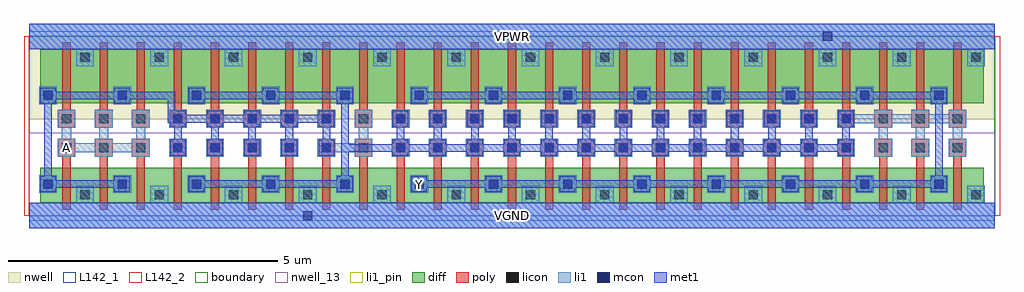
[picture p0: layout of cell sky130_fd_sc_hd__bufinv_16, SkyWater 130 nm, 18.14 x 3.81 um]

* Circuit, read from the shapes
.subckt sky130_fd_sc_hd__bufinv_16 A VGND VPWR Y
XM1 VGND A n1 VSUBS sky130_fd_pr__nfet_01v8 w=0.65 l=0.15 m=3
XM2 n2 n1 VGND VSUBS sky130_fd_pr__nfet_01v8 w=0.65 l=0.15 m=6
XM3 Y n2 VGND VSUBS sky130_fd_pr__nfet_01v8 w=0.65 l=0.15 m=16
XM4 VPWR A n1 n3 sky130_fd_pr__pfet_01v8 w=1 l=0.15 m=3
XM5 n2 n1 VPWR n3 sky130_fd_pr__pfet_01v8 w=1 l=0.15 m=6
XM6 Y n2 VPWR n3 sky130_fd_pr__pfet_01v8 w=1 l=0.15 m=16
.ends

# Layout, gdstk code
import gdstk
lib = gdstk.Library(unit=1e-6, precision=1e-09)
def R(c, l, rs):  # rectangles x0, y0, x1, y1
    for r in rs: c.add(gdstk.rectangle(r[:2], r[2:], *l))
def A(c, l, x, y, w, h, nx, ny, dx, dy):  # array of equal rectangles
    R(c, l, [(x+i*dx, y+j*dy, x+i*dx+w, y+j*dy+h) for i in range(nx) for j in range(ny)])
def P(c, l, *ps):  # polygons
    for p in ps: c.add(gdstk.Polygon(p, *l))
nwell_13 = (64, 13)
nwell = (64, 20)
diff = (65, 20)
poly = (66, 20)
licon = (66, 44)
li1_pin = (67, 16)
li1 = (67, 20)
mcon = (67, 44)
met1 = (68, 20)
L142_1 = (142, 1)
L142_2 = (142, 2)
boundary = (235, 4)

sky130_fd_sc_hd__bufinv_ = lib.new_cell('sky130_fd_sc_hd__bufinv_16')
R(sky130_fd_sc_hd__bufinv_, nwell_13, [(0,0,17.94,1.54)])
R(sky130_fd_sc_hd__bufinv_, nwell, [(0,1.79,17.94,3.33)])
A(sky130_fd_sc_hd__bufinv_, diff, 0.615, 0.24, 0.69, 0.65, 24, 1, 0.69, 0)
A(sky130_fd_sc_hd__bufinv_, diff, 0.615, 2.09, 0.69, 1, 24, 1, 0.69, 0)
R(sky130_fd_sc_hd__bufinv_, diff, [(0.2,0.24,17.74,0.89), (0.2,0.24,0.615,0.89), (17.175,0.24,17.74,0.89), (0.2,2.09,17.74,3.09), (0.2,2.09,0.615,3.09), (17.175,2.09,17.74,3.09)])
P(sky130_fd_sc_hd__bufinv_, poly, [(6.825,0.11),(6.825,1.095),(6.735,1.095),(6.735,1.425),(7.065,1.425),(7.065,1.095),(6.975,1.095),(6.975,0.11)],
  [(7.515,0.11),(7.515,1.095),(7.425,1.095),(7.425,1.425),(7.755,1.425),(7.755,1.095),(7.665,1.095),(7.665,0.11)],
  [(8.205,0.11),(8.205,1.095),(8.115,1.095),(8.115,1.425),(8.445,1.425),(8.445,1.095),(8.355,1.095),(8.355,0.11)],
  [(8.895,0.11),(8.895,1.095),(8.805,1.095),(8.805,1.425),(9.135,1.425),(9.135,1.095),(9.045,1.095),(9.045,0.11)],
  [(9.585,0.11),(9.585,1.095),(9.495,1.095),(9.495,1.425),(9.825,1.425),(9.825,1.095),(9.735,1.095),(9.735,0.11)],
  [(10.275,0.11),(10.275,1.095),(10.185,1.095),(10.185,1.425),(10.515,1.425),(10.515,1.095),(10.425,1.095),(10.425,0.11)],
  [(10.965,0.11),(10.965,1.095),(10.875,1.095),(10.875,1.425),(11.205,1.425),(11.205,1.095),(11.115,1.095),(11.115,0.11)],
  [(11.655,0.11),(11.655,1.095),(11.565,1.095),(11.565,1.425),(11.895,1.425),(11.895,1.095),(11.805,1.095),(11.805,0.11)],
  [(12.345,0.11),(12.345,1.095),(12.255,1.095),(12.255,1.425),(12.585,1.425),(12.585,1.095),(12.495,1.095),(12.495,0.11)],
  [(13.035,0.11),(13.035,1.095),(12.945,1.095),(12.945,1.425),(13.275,1.425),(13.275,1.095),(13.185,1.095),(13.185,0.11)],
  [(13.725,0.11),(13.725,1.095),(13.635,1.095),(13.635,1.425),(13.965,1.425),(13.965,1.095),(13.875,1.095),(13.875,0.11)],
  [(14.415,0.11),(14.415,1.095),(14.325,1.095),(14.325,1.425),(14.655,1.425),(14.655,1.095),(14.565,1.095),(14.565,0.11)],
  [(15.105,0.11),(15.105,1.095),(15.015,1.095),(15.015,1.425),(15.345,1.425),(15.345,1.095),(15.255,1.095),(15.255,0.11)],
  [(15.795,0.11),(15.795,1.095),(15.705,1.095),(15.705,1.425),(16.035,1.425),(16.035,1.095),(15.945,1.095),(15.945,0.11)],
  [(16.485,0.11),(16.485,1.095),(16.395,1.095),(16.395,1.425),(16.725,1.425),(16.725,1.095),(16.635,1.095),(16.635,0.11)],
  [(17.175,0.11),(17.175,1.095),(17.085,1.095),(17.085,1.425),(17.415,1.425),(17.415,1.095),(17.325,1.095),(17.325,0.11)],
  [(6.735,1.635),(6.735,1.965),(6.825,1.965),(6.825,3.22),(6.975,3.22),(6.975,1.965),(7.065,1.965),(7.065,1.635)],
  [(7.425,1.635),(7.425,1.965),(7.515,1.965),(7.515,3.22),(7.665,3.22),(7.665,1.965),(7.755,1.965),(7.755,1.635)],
  [(8.115,1.635),(8.115,1.965),(8.205,1.965),(8.205,3.22),(8.355,3.22),(8.355,1.965),(8.445,1.965),(8.445,1.635)],
  [(8.805,1.635),(8.805,1.965),(8.895,1.965),(8.895,3.22),(9.045,3.22),(9.045,1.965),(9.135,1.965),(9.135,1.635)],
  [(9.495,1.635),(9.495,1.965),(9.585,1.965),(9.585,3.22),(9.735,3.22),(9.735,1.965),(9.825,1.965),(9.825,1.635)],
  [(10.185,1.635),(10.185,1.965),(10.275,1.965),(10.275,3.22),(10.425,3.22),(10.425,1.965),(10.515,1.965),(10.515,1.635)],
  [(10.875,1.635),(10.875,1.965),(10.965,1.965),(10.965,3.22),(11.115,3.22),(11.115,1.965),(11.205,1.965),(11.205,1.635)],
  [(11.565,1.635),(11.565,1.965),(11.655,1.965),(11.655,3.22),(11.805,3.22),(11.805,1.965),(11.895,1.965),(11.895,1.635)],
  [(12.255,1.635),(12.255,1.965),(12.345,1.965),(12.345,3.22),(12.495,3.22),(12.495,1.965),(12.585,1.965),(12.585,1.635)],
  [(12.945,1.635),(12.945,1.965),(13.035,1.965),(13.035,3.22),(13.185,3.22),(13.185,1.965),(13.275,1.965),(13.275,1.635)],
  [(13.635,1.635),(13.635,1.965),(13.725,1.965),(13.725,3.22),(13.875,3.22),(13.875,1.965),(13.965,1.965),(13.965,1.635)],
  [(14.325,1.635),(14.325,1.965),(14.415,1.965),(14.415,3.22),(14.565,3.22),(14.565,1.965),(14.655,1.965),(14.655,1.635)],
  [(15.015,1.635),(15.015,1.965),(15.105,1.965),(15.105,3.22),(15.255,3.22),(15.255,1.965),(15.345,1.965),(15.345,1.635)],
  [(15.705,1.635),(15.705,1.965),(15.795,1.965),(15.795,3.22),(15.945,3.22),(15.945,1.965),(16.035,1.965),(16.035,1.635)],
  [(16.395,1.635),(16.395,1.965),(16.485,1.965),(16.485,3.22),(16.635,3.22),(16.635,1.965),(16.725,1.965),(16.725,1.635)],
  [(17.085,1.635),(17.085,1.965),(17.175,1.965),(17.175,3.22),(17.325,3.22),(17.325,1.965),(17.415,1.965),(17.415,1.635)],
  [(0.615,0.11),(0.615,1.095),(0.525,1.095),(0.525,1.425),(0.855,1.425),(0.855,1.095),(0.765,1.095),(0.765,0.11)],
  [(1.305,0.11),(1.305,1.095),(1.215,1.095),(1.215,1.425),(1.545,1.425),(1.545,1.095),(1.455,1.095),(1.455,0.11)],
  [(1.995,0.11),(1.995,1.095),(1.905,1.095),(1.905,1.425),(2.235,1.425),(2.235,1.095),(2.145,1.095),(2.145,0.11)],
  [(0.525,1.635),(0.525,1.965),(0.615,1.965),(0.615,3.22),(0.765,3.22),(0.765,1.965),(0.855,1.965),(0.855,1.635)],
  [(1.215,1.635),(1.215,1.965),(1.305,1.965),(1.305,3.22),(1.455,3.22),(1.455,1.965),(1.545,1.965),(1.545,1.635)],
  [(1.905,1.635),(1.905,1.965),(1.995,1.965),(1.995,3.22),(2.145,3.22),(2.145,1.965),(2.235,1.965),(2.235,1.635)],
  [(2.685,0.11),(2.685,1.095),(2.595,1.095),(2.595,1.425),(2.925,1.425),(2.925,1.095),(2.835,1.095),(2.835,0.11)],
  [(3.375,0.11),(3.375,1.095),(3.285,1.095),(3.285,1.425),(3.615,1.425),(3.615,1.095),(3.525,1.095),(3.525,0.11)],
  [(4.065,0.11),(4.065,1.095),(3.975,1.095),(3.975,1.425),(4.305,1.425),(4.305,1.095),(4.215,1.095),(4.215,0.11)],
  [(4.755,0.11),(4.755,1.095),(4.665,1.095),(4.665,1.425),(4.995,1.425),(4.995,1.095),(4.905,1.095),(4.905,0.11)],
  [(5.445,0.11),(5.445,1.095),(5.355,1.095),(5.355,1.425),(5.685,1.425),(5.685,1.095),(5.595,1.095),(5.595,0.11)],
  [(6.135,0.11),(6.135,1.095),(6.045,1.095),(6.045,1.425),(6.375,1.425),(6.375,1.095),(6.285,1.095),(6.285,0.11)],
  [(2.595,1.635),(2.595,1.965),(2.685,1.965),(2.685,3.22),(2.835,3.22),(2.835,1.965),(2.925,1.965),(2.925,1.635)],
  [(3.285,1.635),(3.285,1.965),(3.375,1.965),(3.375,3.22),(3.525,3.22),(3.525,1.965),(3.615,1.965),(3.615,1.635)],
  [(3.975,1.635),(3.975,1.965),(4.065,1.965),(4.065,3.22),(4.215,3.22),(4.215,1.965),(4.305,1.965),(4.305,1.635)],
  [(4.665,1.635),(4.665,1.965),(4.755,1.965),(4.755,3.22),(4.905,3.22),(4.905,1.965),(4.995,1.965),(4.995,1.635)],
  [(5.355,1.635),(5.355,1.965),(5.445,1.965),(5.445,3.22),(5.595,3.22),(5.595,1.965),(5.685,1.965),(5.685,1.635)],
  [(6.045,1.635),(6.045,1.965),(6.135,1.965),(6.135,3.22),(6.285,3.22),(6.285,1.965),(6.375,1.965),(6.375,1.635)])
A(sky130_fd_sc_hd__bufinv_, licon, 0.95, 0.3, 0.17, 0.17, 13, 2, 1.38, 2.56)
A(sky130_fd_sc_hd__bufinv_, licon, 0.26, 0.5, 0.17, 0.17, 13, 2, 1.38, 1.65)
A(sky130_fd_sc_hd__bufinv_, licon, 0.605, 1.175, 0.17, 0.17, 25, 2, 0.69, 0.54)
R(sky130_fd_sc_hd__bufinv_, li1_pin, [(0,-0.24,17.94,0.24), (7.08,0.42,7.41,0.75), (0,3.09,17.94,3.57)])
P(sky130_fd_sc_hd__bufinv_, li1_pin, [(0.525,1.095),(0.525,1.425),(0.605,1.425),(0.605,1.635),(0.525,1.635),(0.525,1.965),(0.855,1.965),(0.855,1.635),(0.775,1.635),(0.775,1.425),(0.855,1.425),(0.855,1.345),(1.215,1.345),(1.215,1.425),(1.295,1.425),(1.295,1.635),(1.215,1.635),(1.215,1.965),(1.545,1.965),(1.545,1.635),(1.465,1.635),(1.465,1.425),(1.545,1.425),(1.545,1.345),(1.905,1.345),(1.905,1.425),(1.985,1.425),(1.985,1.635),(1.905,1.635),(1.905,1.965),(2.235,1.965),(2.235,1.635),(2.155,1.635),(2.155,1.425),(2.235,1.425),(2.235,1.095),(1.905,1.095),(1.905,1.175),(1.545,1.175),(1.545,1.095),(1.215,1.095),(1.215,1.175),(0.855,1.175),(0.855,1.095)])
A(sky130_fd_sc_hd__bufinv_, li1, 0.18, 0.42, 0.33, 0.33, 13, 2, 1.38, 1.65)
A(sky130_fd_sc_hd__bufinv_, li1, 2.595, 1.095, 0.33, 0.33, 4, 1, 0.69, 0)
A(sky130_fd_sc_hd__bufinv_, li1, 6.735, 1.095, 0.33, 0.33, 13, 1, 0.69, 0)
A(sky130_fd_sc_hd__bufinv_, li1, 2.595, 1.635, 0.33, 0.33, 5, 1, 0.69, 0)
A(sky130_fd_sc_hd__bufinv_, li1, 6.735, 1.635, 0.33, 0.33, 12, 1, 0.69, 0)
P(sky130_fd_sc_hd__bufinv_, li1, [(15.705,1.095),(15.705,1.425),(15.785,1.425),(15.785,1.635),(15.705,1.635),(15.705,1.715),(15.345,1.715),(15.345,1.635),(15.015,1.635),(15.015,1.965),(15.345,1.965),(15.345,1.885),(15.705,1.885),(15.705,1.965),(16.035,1.965),(16.035,1.885),(16.395,1.885),(16.395,1.965),(16.725,1.965),(16.725,1.885),(17.085,1.885),(17.085,1.965),(17.415,1.965),(17.415,1.635),(17.335,1.635),(17.335,1.425),(17.415,1.425),(17.415,1.095),(17.085,1.095),(17.085,1.425),(17.165,1.425),(17.165,1.635),(17.085,1.635),(17.085,1.715),(16.725,1.715),(16.725,1.635),(16.645,1.635),(16.645,1.425),(16.725,1.425),(16.725,1.095),(16.395,1.095),(16.395,1.425),(16.475,1.425),(16.475,1.635),(16.395,1.635),(16.395,1.715),(16.035,1.715),(16.035,1.635),(15.955,1.635),(15.955,1.425),(16.035,1.425),(16.035,1.095)],
  [(0.87,2.78),(0.87,3.09),(0,3.09),(0,3.57),(17.94,3.57),(17.94,3.09),(17.76,3.09),(17.76,2.78),(17.43,2.78),(17.43,3.09),(16.38,3.09),(16.38,2.78),(16.05,2.78),(16.05,3.09),(15,3.09),(15,2.78),(14.67,2.78),(14.67,3.09),(13.62,3.09),(13.62,2.78),(13.29,2.78),(13.29,3.09),(12.24,3.09),(12.24,2.78),(11.91,2.78),(11.91,3.09),(10.86,3.09),(10.86,2.78),(10.53,2.78),(10.53,3.09),(9.48,3.09),(9.48,2.78),(9.15,2.78),(9.15,3.09),(8.1,3.09),(8.1,2.78),(7.77,2.78),(7.77,3.09),(6.72,3.09),(6.72,2.78),(6.39,2.78),(6.39,3.09),(5.34,3.09),(5.34,2.78),(5.01,2.78),(5.01,3.09),(3.96,3.09),(3.96,2.78),(3.63,2.78),(3.63,3.09),(2.58,3.09),(2.58,2.78),(2.25,2.78),(2.25,3.09),(1.2,3.09),(1.2,2.78)],
  [(0,-0.24),(0,0.24),(0.87,0.24),(0.87,0.55),(1.2,0.55),(1.2,0.24),(2.25,0.24),(2.25,0.55),(2.58,0.55),(2.58,0.24),(3.63,0.24),(3.63,0.55),(3.96,0.55),(3.96,0.24),(5.01,0.24),(5.01,0.55),(5.34,0.55),(5.34,0.24),(6.39,0.24),(6.39,0.55),(6.72,0.55),(6.72,0.24),(7.77,0.24),(7.77,0.55),(8.1,0.55),(8.1,0.24),(9.15,0.24),(9.15,0.55),(9.48,0.55),(9.48,0.24),(10.53,0.24),(10.53,0.55),(10.86,0.55),(10.86,0.24),(11.91,0.24),(11.91,0.55),(12.24,0.55),(12.24,0.24),(13.29,0.24),(13.29,0.55),(13.62,0.55),(13.62,0.24),(14.67,0.24),(14.67,0.55),(15,0.55),(15,0.24),(16.05,0.24),(16.05,0.55),(16.38,0.55),(16.38,0.24),(17.43,0.24),(17.43,0.55),(17.76,0.55),(17.76,0.24),(17.94,0.24),(17.94,-0.24)],
  [(0.525,1.095),(0.525,1.425),(0.605,1.425),(0.605,1.635),(0.525,1.635),(0.525,1.965),(0.855,1.965),(0.855,1.635),(0.775,1.635),(0.775,1.425),(0.855,1.425),(0.855,1.345),(1.215,1.345),(1.215,1.425),(1.295,1.425),(1.295,1.635),(1.215,1.635),(1.215,1.965),(1.545,1.965),(1.545,1.635),(1.465,1.635),(1.465,1.425),(1.545,1.425),(1.545,1.345),(1.905,1.345),(1.905,1.425),(1.985,1.425),(1.985,1.635),(1.905,1.635),(1.905,1.965),(2.235,1.965),(2.235,1.635),(2.155,1.635),(2.155,1.425),(2.235,1.425),(2.235,1.095),(1.905,1.095),(1.905,1.175),(1.545,1.175),(1.545,1.095),(1.215,1.095),(1.215,1.175),(0.855,1.175),(0.855,1.095)],
  [(5.355,1.095),(5.355,1.425),(5.685,1.425),(5.685,1.345),(6.045,1.345),(6.045,1.425),(6.125,1.425),(6.125,1.635),(6.045,1.635),(6.045,1.965),(6.375,1.965),(6.375,1.635),(6.295,1.635),(6.295,1.425),(6.375,1.425),(6.375,1.095),(6.045,1.095),(6.045,1.175),(5.685,1.175),(5.685,1.095)])
A(sky130_fd_sc_hd__bufinv_, mcon, 0.26, 0.5, 0.17, 0.17, 13, 2, 1.38, 1.65)
A(sky130_fd_sc_hd__bufinv_, mcon, 2.675, 1.175, 0.17, 0.17, 5, 2, 0.69, 0.54)
A(sky130_fd_sc_hd__bufinv_, mcon, 6.815, 1.175, 0.17, 0.17, 13, 2, 0.69, 0.54)
R(sky130_fd_sc_hd__bufinv_, mcon, [(5.09,-0.085,5.26,0.085), (14.75,3.245,14.92,3.415)])
R(sky130_fd_sc_hd__bufinv_, met1, [(0,-0.24,17.94,0.24), (0,3.09,17.94,3.57)])
P(sky130_fd_sc_hd__bufinv_, met1, [(7.1,0.44),(7.1,0.73),(7.39,0.73),(7.39,0.655),(8.48,0.655),(8.48,0.73),(8.77,0.73),(8.77,0.655),(9.86,0.655),(9.86,0.73),(10.15,0.73),(10.15,0.655),(11.24,0.655),(11.24,0.73),(11.53,0.73),(11.53,0.655),(12.62,0.655),(12.62,0.73),(12.91,0.73),(12.91,0.655),(14,0.655),(14,0.73),(14.29,0.73),(14.29,0.655),(15.38,0.655),(15.38,0.73),(15.67,0.73),(15.67,0.655),(16.76,0.655),(16.76,0.73),(16.835,0.73),(16.835,2.09),(16.76,2.09),(16.76,2.165),(15.67,2.165),(15.67,2.09),(15.38,2.09),(15.38,2.165),(14.29,2.165),(14.29,2.09),(14,2.09),(14,2.165),(12.91,2.165),(12.91,2.09),(12.62,2.09),(12.62,2.165),(11.53,2.165),(11.53,2.09),(11.24,2.09),(11.24,2.165),(10.15,2.165),(10.15,2.09),(9.86,2.09),(9.86,2.165),(8.77,2.165),(8.77,2.09),(8.48,2.09),(8.48,2.165),(7.39,2.165),(7.39,2.09),(7.1,2.09),(7.1,2.38),(7.39,2.38),(7.39,2.305),(8.48,2.305),(8.48,2.38),(8.77,2.38),(8.77,2.305),(9.86,2.305),(9.86,2.38),(10.15,2.38),(10.15,2.305),(11.24,2.305),(11.24,2.38),(11.53,2.38),(11.53,2.305),(12.62,2.305),(12.62,2.38),(12.91,2.38),(12.91,2.305),(14,2.305),(14,2.38),(14.29,2.38),(14.29,2.305),(15.38,2.305),(15.38,2.38),(15.67,2.38),(15.67,2.305),(16.76,2.305),(16.76,2.38),(17.05,2.38),(17.05,2.09),(16.975,2.09),(16.975,0.73),(17.05,0.73),(17.05,0.44),(16.76,0.44),(16.76,0.515),(15.67,0.515),(15.67,0.44),(15.38,0.44),(15.38,0.515),(14.29,0.515),(14.29,0.44),(14,0.44),(14,0.515),(12.91,0.515),(12.91,0.44),(12.62,0.44),(12.62,0.515),(11.53,0.515),(11.53,0.44),(11.24,0.44),(11.24,0.515),(10.15,0.515),(10.15,0.44),(9.86,0.44),(9.86,0.515),(8.77,0.515),(8.77,0.44),(8.48,0.44),(8.48,0.515),(7.39,0.515),(7.39,0.44)],
  [(2.96,0.44),(2.96,0.73),(3.25,0.73),(3.25,0.655),(4.34,0.655),(4.34,0.73),(4.63,0.73),(4.63,0.655),(5.72,0.655),(5.72,0.73),(5.795,0.73),(5.795,2.09),(5.72,2.09),(5.72,2.165),(4.63,2.165),(4.63,2.09),(4.34,2.09),(4.34,2.165),(3.25,2.165),(3.25,2.09),(2.96,2.09),(2.96,2.38),(3.25,2.38),(3.25,2.305),(4.34,2.305),(4.34,2.38),(4.63,2.38),(4.63,2.305),(5.72,2.305),(5.72,2.38),(6.01,2.38),(6.01,2.09),(5.935,2.09),(5.935,1.33),(6.755,1.33),(6.755,1.405),(6.83,1.405),(6.83,1.655),(6.755,1.655),(6.755,1.945),(7.045,1.945),(7.045,1.655),(6.97,1.655),(6.97,1.405),(7.045,1.405),(7.045,1.33),(7.445,1.33),(7.445,1.405),(7.52,1.405),(7.52,1.655),(7.445,1.655),(7.445,1.945),(7.735,1.945),(7.735,1.655),(7.66,1.655),(7.66,1.405),(7.735,1.405),(7.735,1.33),(8.135,1.33),(8.135,1.405),(8.21,1.405),(8.21,1.655),(8.135,1.655),(8.135,1.945),(8.425,1.945),(8.425,1.655),(8.35,1.655),(8.35,1.405),(8.425,1.405),(8.425,1.33),(8.825,1.33),(8.825,1.405),(8.9,1.405),(8.9,1.655),(8.825,1.655),(8.825,1.945),(9.115,1.945),(9.115,1.655),(9.04,1.655),(9.04,1.405),(9.115,1.405),(9.115,1.33),(9.515,1.33),(9.515,1.405),(9.59,1.405),(9.59,1.655),(9.515,1.655),(9.515,1.945),(9.805,1.945),(9.805,1.655),(9.73,1.655),(9.73,1.405),(9.805,1.405),(9.805,1.33),(10.205,1.33),(10.205,1.405),(10.28,1.405),(10.28,1.655),(10.205,1.655),(10.205,1.945),(10.495,1.945),(10.495,1.655),(10.42,1.655),(10.42,1.405),(10.495,1.405),(10.495,1.33),(10.895,1.33),(10.895,1.405),(10.97,1.405),(10.97,1.655),(10.895,1.655),(10.895,1.945),(11.185,1.945),(11.185,1.655),(11.11,1.655),(11.11,1.405),(11.185,1.405),(11.185,1.33),(11.585,1.33),(11.585,1.405),(11.66,1.405),(11.66,1.655),(11.585,1.655),(11.585,1.945),(11.875,1.945),(11.875,1.655),(11.8,1.655),(11.8,1.405),(11.875,1.405),(11.875,1.33),(12.275,1.33),(12.275,1.405),(12.35,1.405),(12.35,1.655),(12.275,1.655),(12.275,1.945),(12.565,1.945),(12.565,1.655),(12.49,1.655),(12.49,1.405),(12.565,1.405),(12.565,1.33),(12.965,1.33),(12.965,1.405),(13.04,1.405),(13.04,1.655),(12.965,1.655),(12.965,1.945),(13.255,1.945),(13.255,1.655),(13.18,1.655),(13.18,1.405),(13.255,1.405),(13.255,1.33),(13.655,1.33),(13.655,1.405),(13.73,1.405),(13.73,1.655),(13.655,1.655),(13.655,1.945),(13.945,1.945),(13.945,1.655),(13.87,1.655),(13.87,1.405),(13.945,1.405),(13.945,1.33),(14.345,1.33),(14.345,1.405),(14.42,1.405),(14.42,1.655),(14.345,1.655),(14.345,1.945),(14.635,1.945),(14.635,1.655),(14.56,1.655),(14.56,1.405),(14.635,1.405),(14.635,1.33),(15.035,1.33),(15.035,1.405),(15.11,1.405),(15.11,1.655),(15.035,1.655),(15.035,1.945),(15.325,1.945),(15.325,1.655),(15.25,1.655),(15.25,1.405),(15.325,1.405),(15.325,1.115),(15.035,1.115),(15.035,1.19),(14.635,1.19),(14.635,1.115),(14.345,1.115),(14.345,1.19),(13.945,1.19),(13.945,1.115),(13.655,1.115),(13.655,1.19),(13.255,1.19),(13.255,1.115),(12.965,1.115),(12.965,1.19),(12.565,1.19),(12.565,1.115),(12.275,1.115),(12.275,1.19),(11.875,1.19),(11.875,1.115),(11.585,1.115),(11.585,1.19),(11.185,1.19),(11.185,1.115),(10.895,1.115),(10.895,1.19),(10.495,1.19),(10.495,1.115),(10.205,1.115),(10.205,1.19),(9.805,1.19),(9.805,1.115),(9.515,1.115),(9.515,1.19),(9.115,1.19),(9.115,1.115),(8.825,1.115),(8.825,1.19),(8.425,1.19),(8.425,1.115),(8.135,1.115),(8.135,1.19),(7.735,1.19),(7.735,1.115),(7.445,1.115),(7.445,1.19),(7.045,1.19),(7.045,1.115),(6.755,1.115),(6.755,1.19),(5.935,1.19),(5.935,0.73),(6.01,0.73),(6.01,0.44),(5.72,0.44),(5.72,0.515),(4.63,0.515),(4.63,0.44),(4.34,0.44),(4.34,0.515),(3.25,0.515),(3.25,0.44)],
  [(0.2,0.44),(0.2,0.73),(0.275,0.73),(0.275,2.09),(0.2,2.09),(0.2,2.38),(0.49,2.38),(0.49,2.305),(1.58,2.305),(1.58,2.38),(1.87,2.38),(1.87,2.305),(2.715,2.305),(2.715,1.945),(2.905,1.945),(2.905,1.87),(3.305,1.87),(3.305,1.945),(3.595,1.945),(3.595,1.87),(3.995,1.87),(3.995,1.945),(4.285,1.945),(4.285,1.87),(4.685,1.87),(4.685,1.945),(4.975,1.945),(4.975,1.87),(5.375,1.87),(5.375,1.945),(5.665,1.945),(5.665,1.655),(5.59,1.655),(5.59,1.405),(5.665,1.405),(5.665,1.115),(5.375,1.115),(5.375,1.405),(5.45,1.405),(5.45,1.655),(5.375,1.655),(5.375,1.73),(4.975,1.73),(4.975,1.655),(4.9,1.655),(4.9,1.405),(4.975,1.405),(4.975,1.115),(4.685,1.115),(4.685,1.405),(4.76,1.405),(4.76,1.655),(4.685,1.655),(4.685,1.73),(4.285,1.73),(4.285,1.655),(4.21,1.655),(4.21,1.405),(4.285,1.405),(4.285,1.115),(3.995,1.115),(3.995,1.405),(4.07,1.405),(4.07,1.655),(3.995,1.655),(3.995,1.73),(3.595,1.73),(3.595,1.655),(3.52,1.655),(3.52,1.405),(3.595,1.405),(3.595,1.115),(3.305,1.115),(3.305,1.405),(3.38,1.405),(3.38,1.655),(3.305,1.655),(3.305,1.73),(2.905,1.73),(2.905,1.655),(2.83,1.655),(2.83,1.405),(2.905,1.405),(2.905,1.115),(2.615,1.115),(2.615,1.405),(2.69,1.405),(2.69,1.655),(2.615,1.655),(2.615,1.73),(2.575,1.73),(2.575,2.165),(1.87,2.165),(1.87,2.09),(1.58,2.09),(1.58,2.165),(0.49,2.165),(0.49,2.09),(0.415,2.09),(0.415,0.73),(0.49,0.73),(0.49,0.655),(1.58,0.655),(1.58,0.73),(1.87,0.73),(1.87,0.44),(1.58,0.44),(1.58,0.515),(0.49,0.515),(0.49,0.44)])
R(sky130_fd_sc_hd__bufinv_, L142_1, [(0,-0.1,17.94,0), (0,3.33,17.94,3.43)])
R(sky130_fd_sc_hd__bufinv_, L142_2, [(-0.1,0,0,3.33), (17.94,0,18.04,3.33)])
R(sky130_fd_sc_hd__bufinv_, boundary, [(0,0,17.94,3.33)])
sky130_fd_sc_hd__bufinv_.add(gdstk.Label('Y', (7.245,0.585), layer=67, texttype=5))
sky130_fd_sc_hd__bufinv_.add(gdstk.Label('A', (0.69,1.26), layer=67, texttype=5))
sky130_fd_sc_hd__bufinv_.add(gdstk.Label('VGND', (8.97,0), layer=67, texttype=5))
sky130_fd_sc_hd__bufinv_.add(gdstk.Label('VPWR', (8.97,3.33), layer=67, texttype=5))
sky130_fd_sc_hd__bufinv_.add(gdstk.Label('VGND', (8.97,0), layer=68, texttype=5))
sky130_fd_sc_hd__bufinv_.add(gdstk.Label('VPWR', (8.97,3.33), layer=68, texttype=5))

lib.write_gds('sky130_fd_sc_hd__bufinv_16.gds')
